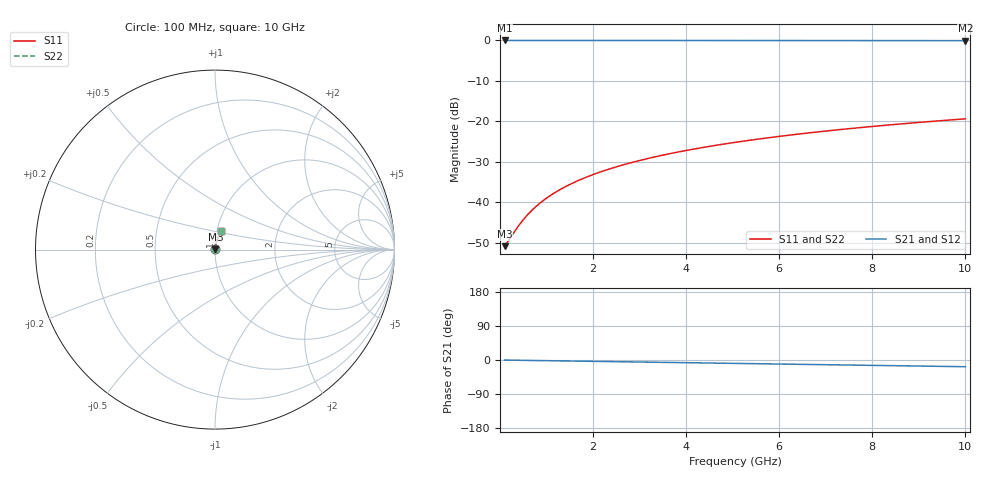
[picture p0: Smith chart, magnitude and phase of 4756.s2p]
# Hz S RI R 50.00
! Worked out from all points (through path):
!   100 points, 100 MHz to 10 GHz, reference 50 ohm
!   highest |S21| = -0.02 dB at 100 MHz (marker M1); lowest = -0.1 dB at 10 GHz (marker M2)
!   group delay of S21, straight-line fit = 4.93 ps
!   lowest |S11| = -50.8 dB at 100 MHz (marker M3), VSWR 1.01, Z = 50.3 + j0.109 ohm
!   |S11| at or under -10 dB: start of sweep to end of sweep
!   |S22| runs from -50.8 to -19.4 dB; largest |S21 - S12| = 0
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1e8  0.00266 0.00108  0.9973 -0.00309  0.9973 -0.00309  0.00266 0.00108
2e8  0.00269 0.00217  0.9973 -0.00617  0.9973 -0.00617  0.00269 0.00217
4e8  0.00275 0.00433  0.9972 -0.0123  0.9972 -0.0123  0.00275 0.00433
5e8  0.00279 0.00542  0.9972 -0.0154  0.9972 -0.0154  0.00279 0.00542
6e8  0.00283 0.0065  0.9971 -0.0185  0.9971 -0.0185  0.00283 0.0065
7e8  0.00288 0.00758  0.997 -0.0216  0.997 -0.0216  0.00288 0.00758
8e8  0.00294 0.00867  0.9969 -0.0247  0.9969 -0.0247  0.00294 0.00867
1e9  0.00307 0.0108  0.9967 -0.0309  0.9967 -0.0309  0.00307 0.0108
1.2e9  0.00322 0.013  0.9965 -0.037  0.9965 -0.037  0.00322 0.013
1.5e9  0.00351 0.0162  0.996 -0.0463  0.996 -0.0463  0.00351 0.0162
1.8e9  0.00385 0.0195  0.9955 -0.0555  0.9955 -0.0555  0.00385 0.0195
2.1e9  0.00425 0.0227  0.9948 -0.0648  0.9948 -0.0648  0.00425 0.0227
2.5e9  0.00488 0.027  0.9938 -0.0771  0.9938 -0.0771  0.00488 0.027
2.9e9  0.00561 0.0312  0.9926 -0.0893  0.9926 -0.0893  0.00561 0.0312
3.4e9  0.00667 0.0365  0.9909 -0.1047  0.9909 -0.1047  0.00667 0.0365
4.2e9  0.00871 0.045  0.9877 -0.1291  0.9877 -0.1291  0.00871 0.045
5.1e9  0.0115 0.0543  0.9832 -0.1565  0.9832 -0.1565  0.0115 0.0543
5.9e9  0.0144 0.0624  0.9785 -0.1807  0.9785 -0.1807  0.0144 0.0624
6.7e9  0.0177 0.0704  0.9731 -0.2048  0.9731 -0.2048  0.0177 0.0704
7.5e9  0.0214 0.0782  0.9671 -0.2286  0.9671 -0.2286  0.0214 0.0782
8.4e9  0.026 0.0868  0.9595 -0.2552  0.9595 -0.2552  0.026 0.0868
1e10  0.0354 0.1013  0.9441 -0.3019  0.9441 -0.3019  0.0354 0.1013
